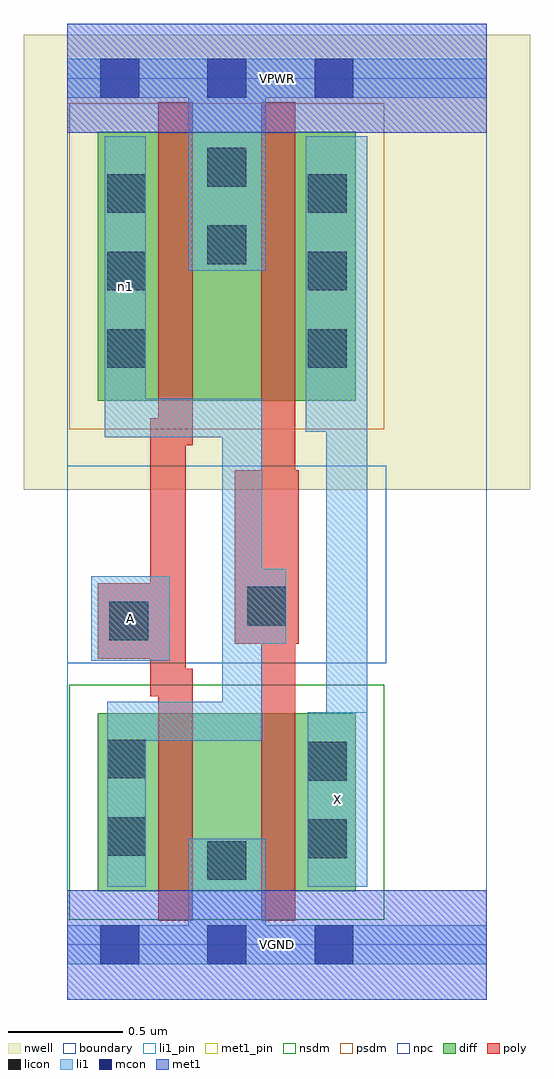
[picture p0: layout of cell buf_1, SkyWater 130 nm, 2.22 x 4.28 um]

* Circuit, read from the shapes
.subckt buf_1 A VGND VPWR X n1
XM1 VGND A n1 VSUBS sky130_fd_pr__nfet_01v8 w=0.78 l=0.15
XM2 X n1 VGND VSUBS sky130_fd_pr__nfet_01v8 w=0.78 l=0.15
XM3 VPWR A n1 n2 sky130_fd_pr__pfet_01v8 w=1.18 l=0.15
XM4 X n1 VPWR n2 sky130_fd_pr__pfet_01v8 w=1.18 l=0.15
.ends

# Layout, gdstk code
import gdstk
lib = gdstk.Library(unit=1e-6, precision=1e-09)
def R(c, l, rs):  # rectangles x0, y0, x1, y1
    for r in rs: c.add(gdstk.rectangle(r[:2], r[2:], *l))
def A(c, l, x, y, w, h, nx, ny, dx, dy):  # array of equal rectangles
    R(c, l, [(x+i*dx, y+j*dy, x+i*dx+w, y+j*dy+h) for i in range(nx) for j in range(ny)])
nwell = (64, 20)
diff = (65, 20)
poly = (66, 20)
licon = (66, 44)
li1_pin = (67, 16)
li1 = (67, 20)
mcon = (67, 44)
met1_pin = (68, 16)
met1 = (68, 20)
nsdm = (93, 44)
psdm = (94, 20)
npc = (95, 20)
boundary = (235, 4)

buf_1 = lib.new_cell('buf_1')
R(buf_1, nwell, [(-0.19,1.995,2.03,3.99), (0,1.995,1.84,3.99)])
R(buf_1, diff, [(0.135,0.235,1.265,1.015), (0.135,2.385,1.265,3.565)])
R(buf_1, poly, [(0.4,0.105,0.52,3.695), (0.4,0.105,0.55,1.21), (0.85,0.105,1,3.695), (0.365,1.09,0.52,2.31), (0.135,1.255,0.52,1.585), (0.735,1.32,1.015,2.08), (0.4,2.19,0.55,3.695)])
A(buf_1, licon, 0.175, 2.53, 0.17, 0.17, 1, 3, 0, 0.34)
A(buf_1, licon, 1.055, 2.53, 0.17, 0.17, 1, 3, 0, 0.34)
R(buf_1, licon, [(0.615,0.285,0.785,0.455), (1.055,0.38,1.225,0.55), (0.175,0.39,0.345,0.56), (1.055,0.72,1.225,0.89), (0.175,0.73,0.345,0.9), (0.185,1.335,0.355,1.505), (0.79,1.4,0.96,1.57), (0.615,2.985,0.785,3.155), (0.615,3.325,0.785,3.495)])
R(buf_1, li1_pin, [(1.055,0.255,1.315,1.02), (0.105,1.245,0.45,1.615)])
R(buf_1, li1, [(0,-0.085,1.84,0.085), (0.53,-0.085,0.87,0.465), (0.175,0.255,0.345,1.065), (1.055,0.255,1.315,1.02), (1.135,0.255,1.315,3.545), (0.175,0.895,0.855,1.065), (0.68,0.895,0.855,2.395), (0.105,1.245,0.45,1.615), (0.68,1.32,0.96,1.65), (0.165,2.225,0.345,3.545), (0.165,2.225,0.855,2.395), (1.045,2.25,1.315,3.545), (0.53,2.955,0.87,3.885), (0,3.715,1.84,3.885)])
A(buf_1, mcon, 0.145, -0.085, 0.17, 0.17, 3, 2, 0.47, 3.8)
R(buf_1, met1_pin, [(0,-0.24,1.84,0.24), (0,3.56,1.84,4.04)])
R(buf_1, met1, [(0,-0.24,1.84,0.24), (0,3.56,1.84,4.04)])
R(buf_1, nsdm, [(0.01,0.11,1.39,1.14)])
R(buf_1, psdm, [(0.01,2.26,1.39,3.69)])
R(buf_1, npc, [(0,1.235,1.4,2.1)])
R(buf_1, boundary, [(0,0,1.84,3.8)])
buf_1.add(gdstk.Label('A', (0.277,1.43), layer=67, texttype=5))
buf_1.add(gdstk.Label('X', (1.185,0.637), layer=67, texttype=5))
buf_1.add(gdstk.Label('n1', (0.255,2.885), layer=67, texttype=5))
buf_1.add(gdstk.Label('VPWR', (0.92,3.8), layer=68, texttype=5))
buf_1.add(gdstk.Label('VGND', (0.92,0), layer=68, texttype=5))
buf_1.add(gdstk.Label('A', (0.277,1.43), layer=67, texttype=16))
buf_1.add(gdstk.Label('X', (1.185,0.637), layer=67, texttype=16))
buf_1.add(gdstk.Label('VPWR', (0.92,3.8), layer=68, texttype=16))
buf_1.add(gdstk.Label('VGND', (0.92,0), layer=68, texttype=16))

lib.write_gds('buf_1.gds')
